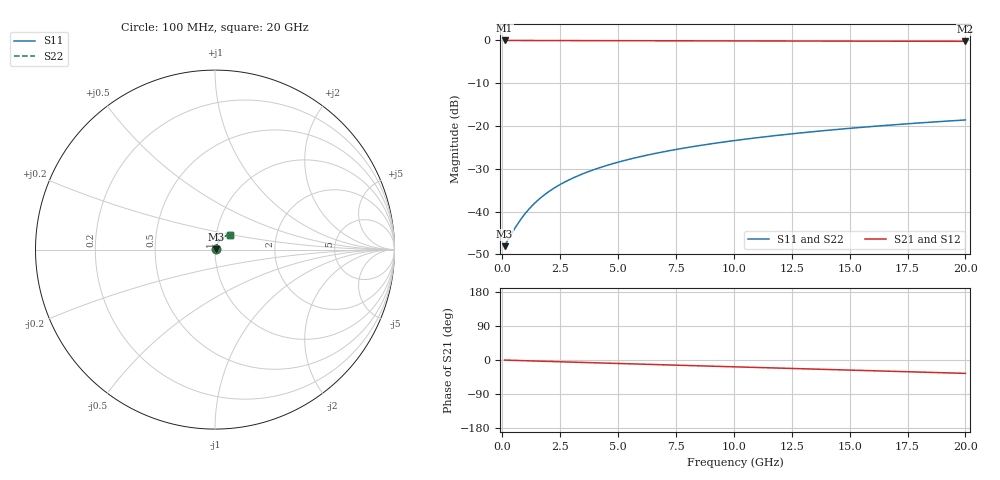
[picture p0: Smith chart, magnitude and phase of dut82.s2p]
! Touchstone file exported from HFSS 2026.1.0
!  File:  C:/ffzhzh/LocalFiles/Ansys_Project_Files/temp_train_BSMRDL_82_1782883092_43084.aedt
!  Generated:  01:19:19 PM Jul  1, 2026
!  Design:  BSMRDL
!  Project:  temp_train_BSMRDL_82_1782883092_43084
! Variables:
!  h_bsmrdl = 5.98um
!  h_ox = 20um
!  h_rdl = 5um
!  h_sub = 80um
!  h_tmrdl = 5um
!  h_tsv = 80um
!  h_via = 3um
!  l_bsmrdl = 641.15um
!  l_sub = 1041.15um
!  l_tmrdl = 200um
!  m_sub = 200um
!  pitch = 16.93um
!  r_tsv = 6um
!  s_tmrdl = 10um
!  w_bsmrdl = 10.26um
!  w_sub = 500um
!  w_tmrdl = 12um
!  x_tsv_center1 = 206um
!  x_tsv_center2 = 857.41um
!  x_tsv_center3 = 1069.41um
!  x_tsv_center4 = 1720.82um
!  x_tsv_center5 = 1932.82um
!  x_tsv_center6 = 2584.23um
# GHz S MA R 50.000000
! Terminal data exported
! Port[1] = BSM_RDL1_1_T1
! Port[2] = BSM_RDL1_1_T2
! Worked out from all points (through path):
!   200 points, 100 MHz to 20 GHz, reference 50 ohm
!   highest |S21| = -0.03 dB at 100 MHz (marker M1); lowest = -0.2 dB at 20 GHz (marker M2)
!   group delay of S21, straight-line fit = 4.88 ps
!   lowest |S11| = -48.1 dB at 100 MHz (marker M3), VSWR 1.01, Z = 50.4 + j0.109 ohm
!   |S11| at or under -10 dB: start of sweep to end of sweep
!   |S22| runs from -48.1 to -18.6 dB; largest |S21 - S12| = 3.5e-15
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0.1  0.003938 16.0  0.9962 -0.2  0.9962 -0.2  0.003938 16.0
! Gamma 0 0 0 0
! Port Impedance 50 0 50 0
0.2  0.004449 25.9  0.996 -0.4  0.996 -0.4  0.004463 26.1
0.4  0.005508 39.5  0.9956 -0.8  0.9956 -0.8  0.005545 39.4
0.6  0.006738 48.7  0.9954 -1.2  0.9954 -1.2  0.006766 48.5
0.8  0.008106 54.9  0.9952 -1.5  0.9952 -1.5  0.008118 54.6
1.1  0.01029 60.6  0.9949 -2.1  0.9949 -2.1  0.01028 60.4
1.3  0.01179 63.0  0.9948 -2.4  0.9948 -2.4  0.01177 62.8
1.5  0.01329 64.6  0.9946 -2.8  0.9946 -2.8  0.01327 64.5
1.9  0.01629 66.5  0.9942 -3.6  0.9942 -3.6  0.01626 66.5
2.4  0.01996 67.6  0.9936 -4.5  0.9936 -4.5  0.01995 67.6
2.9  0.02355 68.0  0.993 -5.4  0.993 -5.4  0.02354 68.0
3.5  0.02774 67.9  0.9922 -6.5  0.9922 -6.5  0.02774 67.9
4.2  0.03248 67.4  0.9912 -7.8  0.9912 -7.8  0.03248 67.4
5  0.03771 66.6  0.99 -9.2  0.99 -9.2  0.03771 66.6
5.9  0.04339 65.5  0.9888 -10.8  0.9888 -10.8  0.04339 65.5
6.8  0.04889 64.3  0.9876 -12.4  0.9876 -12.4  0.04889 64.3
8.3  0.05771 62.4  0.9857 -15.0  0.9857 -15.0  0.05772 62.3
10.1  0.06787 59.9  0.9836 -18.2  0.9836 -18.2  0.06788 59.9
11.7  0.07658 57.7  0.9818 -21.0  0.9818 -21.0  0.07659 57.6
13.4  0.08554 55.3  0.98 -23.9  0.98 -23.9  0.08555 55.2
16.7  0.1021 50.4  0.9767 -29.6  0.9767 -29.6  0.1021 50.4
20  0.1174 45.5  0.9735 -35.3  0.9735 -35.3  0.1174 45.4
